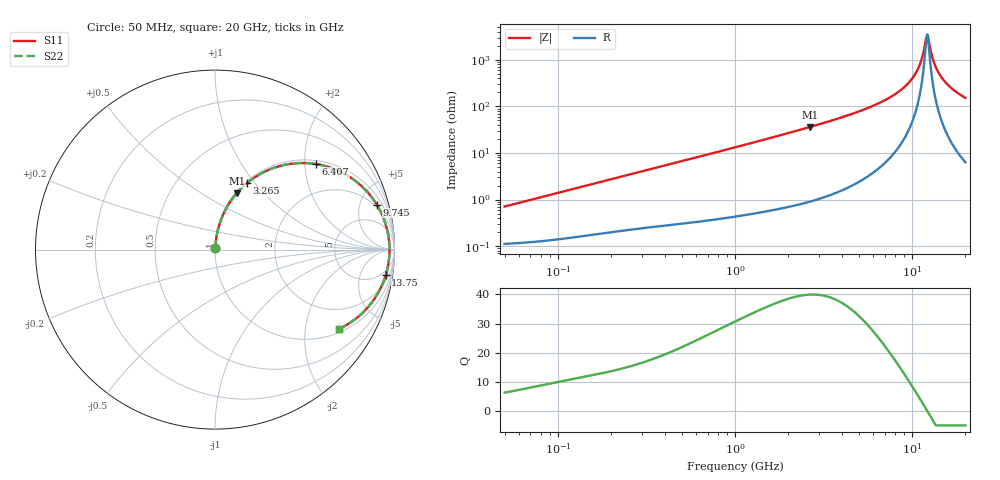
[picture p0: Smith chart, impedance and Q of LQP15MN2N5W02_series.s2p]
!Murata Part Number: LQP15MN2N5W02
!These Parameters are Measured in Series Mode Connection
!  o--[Z]--o
!Port1  Port2
!  o-------o
!Freq. Start=50[MHz] Stop=20[GHz], 401[Steps]
# Hz S RI R 50
!Freq.(Hz) S11(Real) S11(Imag) S21(Real) S21(Imag) S12(Real) S12(Imag) S22(Real) S22(Imag)
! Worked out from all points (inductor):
!   401 points, 50 MHz to 20 GHz, reference 50 ohm
!   read as one part in series: L = 2.22 nH near 51.52 MHz
!   highest Q = 39.9 at 2.647 GHz (marker M1), where L = 2.17 nH
!   self-resonance near 12.02 GHz
!   S11 on the Smith chart (normalised r, x): 50 MHz: 1.00, +0.01; 3.265 GHz: 1.02, +0.91; 6.407 GHz: 1.09, +2.29; 9.745 GHz: 1.72, +6.92; 13.75 GHz: 3, -13; 20 GHz: 1.13, -3.04
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5e7  0.00116 0.00698  0.9988 -0.00698  0.9988 -0.00698  0.00116 0.00698
1.364002e8  0.00198 0.0187  0.998 -0.0187  0.998 -0.0187  0.00198 0.0187
3.721004e8  0.0051 0.0492  0.9949 -0.0492  0.9949 -0.0492  0.0051 0.0492
1e9  0.0211 0.1284  0.9789 -0.1284  0.9789 -0.1284  0.0211 0.1284
2.647493e9  0.121 0.3138  0.879 -0.3138  0.879 -0.3138  0.121 0.3138
2.728004e9  0.1278 0.3216  0.8722 -0.3216  0.8722 -0.3216  0.1278 0.3216
3.265178e9  0.1781 0.3701  0.8219 -0.3701  0.8219 -0.3701  0.1781 0.3701
4.608136e9  0.3306 0.4562  0.6694 -0.4562  0.6694 -0.4562  0.3306 0.4562
6.406762e9  0.5644 0.4765  0.4356 -0.4765  0.4356 -0.4765  0.5644 0.4765
7.442007e9  0.6927 0.4372  0.3073 -0.4372  0.3073 -0.4372  0.6927 0.4372
8.644534e9  0.8181 0.3527  0.1819 -0.3527  0.1819 -0.3527  0.8181 0.3527
9.745021e9  0.9015 0.2503  0.0985 -0.2503  0.0985 -0.2503  0.9015 0.2503
1.098561e10  0.9561 0.1223  0.0439 -0.1223  0.0439 -0.1223  0.9561 0.1223
1.131968e10  0.9639 0.0875  0.0361 -0.0875  0.0361 -0.0875  0.9639 0.0875
1.183995e10  0.9709 0.0342  0.0291 -0.0342  0.0291 -0.0342  0.9709 0.0342
1.220001e10  0.9722 -0.00173  0.0278 0.00173  0.0278 0.00173  0.9722 -0.00173
1.238412e10  0.9719 -0.0197  0.0281 0.0197  0.0281 0.0197  0.9719 -0.0197
1.314879e10  0.9639 -0.091  0.0361 0.091  0.0361 0.091  0.9639 -0.091
1.375312e10  0.9512 -0.1429  0.0488 0.1429  0.0488 0.1429  0.9512 -0.1429
1.460232e10  0.9259 -0.2085  0.0741 0.2085  0.0741 0.2085  0.9259 -0.2085
1.597544e10  0.8727 -0.296  0.1273 0.296  0.1273 0.296  0.8727 -0.296
2e10  0.6915 -0.4416  0.3085 0.4416  0.3085 0.4416  0.6915 -0.4416
